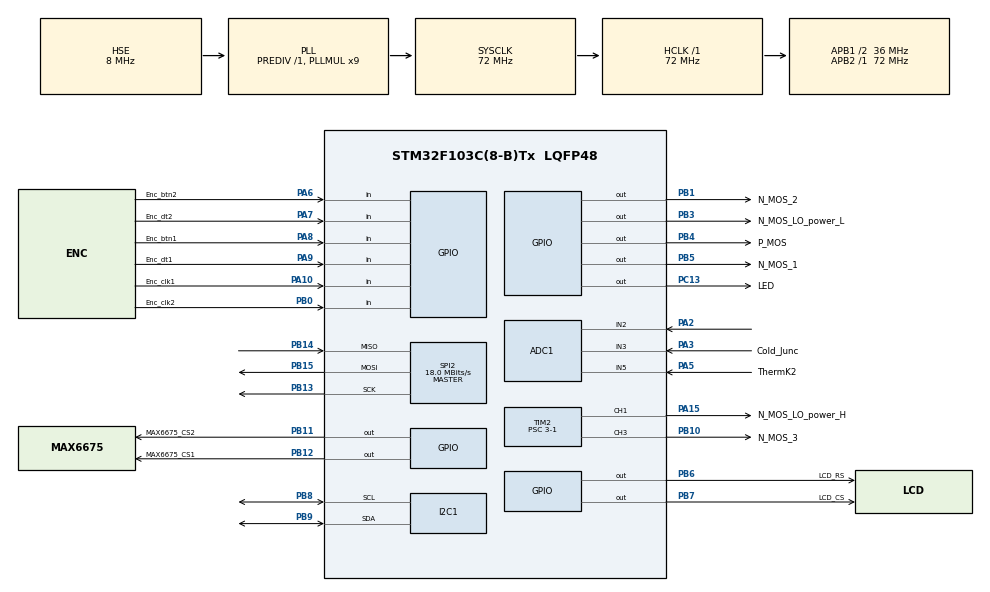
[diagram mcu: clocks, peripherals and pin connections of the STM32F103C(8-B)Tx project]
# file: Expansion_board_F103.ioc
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ADC1.Channel-0\#ChannelRegularConversion=ADC_CHANNEL_5
ADC1.NbrOfConversionFlag=1
ADC1.Rank-0\#ChannelRegularConversion=1
ADC1.SamplingTime-0\#ChannelRegularConversion=ADC_SAMPLETIME_1CYCLE_5
ADC1.master=1
Mcu.Family=STM32F1
Mcu.Name=STM32F103C(8-B)Tx
Mcu.Package=LQFP48
NVIC.PriorityGroup=NVIC_PRIORITYGROUP_4
NVIC.TIM4_IRQn=true\:1\:0\:true\:false\:true\:true\:true\:true
PA10.GPIO_Label=Enc_clk1
PA10.Signal=GPIO_Input
PA13.Mode=Serial_Wire
PA13.Signal=SYS_JTMS-SWDIO
PA14.Mode=Serial_Wire
PA14.Signal=SYS_JTCK-SWCLK
PA15.GPIO_Label=N_MOS_LO_power_H
PA15.GPIO_Speed=GPIO_SPEED_FREQ_LOW
PA15.Signal=S_TIM2_CH1_ETR
PA2.Signal=ADCx_IN2
PA3.GPIO_Label=Cold_Junc
PA3.Signal=ADCx_IN3
PA5.GPIO_Label=ThermK2
PA5.Signal=ADCx_IN5
PA6.GPIO_Label=Enc_btn2
PA6.Signal=GPIO_Input
PA7.GPIO_Label=Enc_dt2
PA7.Signal=GPIO_Input
PA8.GPIO_Label=Enc_btn1
PA8.Signal=GPIO_Input
PA9.GPIO_Label=Enc_dt1
PA9.Signal=GPIO_Input
PB0.GPIO_Label=Enc_clk2
PB0.Signal=GPIO_Input
PB1.GPIO_Label=N_MOS_2
PB1.GPIO_Speed=GPIO_SPEED_FREQ_HIGH
PB1.Signal=GPIO_Output
PB10.GPIO_Label=N_MOS_3
PB10.GPIO_Speed=GPIO_SPEED_FREQ_LOW
PB10.Signal=S_TIM2_CH3
PB11.GPIO_Label=MAX6675_CS2
PB11.GPIO_Speed=GPIO_SPEED_FREQ_HIGH
PB11.Signal=GPIO_Output
PB12.GPIO_Label=MAX6675_CS1
PB12.GPIO_Speed=GPIO_SPEED_FREQ_HIGH
PB12.Signal=GPIO_Output
PB13.Mode=Full_Duplex_Master
PB13.Signal=SPI2_SCK
PB14.Mode=Full_Duplex_Master
PB14.Signal=SPI2_MISO
PB15.Mode=Full_Duplex_Master
PB15.Signal=SPI2_MOSI
PB3.GPIO_Label=N_MOS_LO_power_L
PB3.GPIO_Speed=GPIO_SPEED_FREQ_HIGH
PB3.Signal=GPIO_Output
PB4.GPIO_Label=P_MOS
PB4.GPIO_Speed=GPIO_SPEED_FREQ_HIGH
PB4.PinState=GPIO_PIN_RESET
PB4.Signal=GPIO_Output
PB5.GPIO_Label=N_MOS_1
PB5.Signal=GPIO_Output
PB6.GPIO_Label=LCD_RS
PB6.GPIO_Speed=GPIO_SPEED_FREQ_HIGH
PB6.Signal=GPIO_Output
PB7.GPIO_Label=LCD_CS
PB7.GPIO_Speed=GPIO_SPEED_FREQ_HIGH
PB7.Signal=GPIO_Output
PB8.Mode=I2C
PB8.Signal=I2C1_SCL
PB9.Mode=I2C
PB9.Signal=I2C1_SDA
PC13-TAMPER-RTC.GPIO_Label=LED
PC13-TAMPER-RTC.Signal=GPIO_Output
PD0-OSC_IN.Mode=HSE-External-Oscillator
PD0-OSC_IN.Signal=RCC_OSC_IN
PD1-OSC_OUT.Mode=HSE-External-Oscillator
PD1-OSC_OUT.Signal=RCC_OSC_OUT
ProjectManager.HeapSize=0x200
ProjectManager.StackSize=0x400
ProjectManager.TargetToolchain=STM32CubeIDE
RCC.ADCPresc=RCC_ADCPCLK2_DIV6
RCC.AHBFreq_Value=72000000
RCC.APB1CLKDivider=RCC_HCLK_DIV2
RCC.APB1Freq_Value=36000000
RCC.APB1TimFreq_Value=72000000
RCC.APB2Freq_Value=72000000
RCC.APB2TimFreq_Value=72000000
RCC.HCLKFreq_Value=72000000
RCC.PLLMUL=RCC_PLL_MUL9
RCC.PLLSourceVirtual=RCC_PLLSOURCE_HSE
RCC.SYSCLKFreq_VALUE=72000000
RCC.SYSCLKSource=RCC_SYSCLKSOURCE_PLLCLK
RCC.USBFreq_Value=48000000
RCC.USBPrescaler=RCC_USBCLKSOURCE_PLL_DIV1_5
SH.ADCx_IN2.0=ADC1_IN2,IN2
SH.ADCx_IN3.0=ADC1_IN3,IN3
SH.ADCx_IN5.0=ADC1_IN5,IN5
SH.S_TIM2_CH1_ETR.0=TIM2_CH1,PWM Generation1 CH1
SH.S_TIM2_CH3.0=TIM2_CH3,PWM Generation3 CH3
SPI2.BaudRatePrescaler=SPI_BAUDRATEPRESCALER_2
SPI2.CalculateBaudRate=18.0 MBits/s
SPI2.Direction=SPI_DIRECTION_2LINES
SPI2.Mode=SPI_MODE_MASTER
SPI2.VirtualType=VM_MASTER
TIM2.Channel-PWM\ Generation1\ CH1=TIM_CHANNEL_1
TIM2.Channel-PWM\ Generation3\ CH3=TIM_CHANNEL_3
TIM2.ClockDivision=TIM_CLOCKDIVISION_DIV1
TIM2.OC1Preload_PWM=DISABLE
TIM2.OC3Preload_PWM=DISABLE
TIM2.OCFastMode_PWM-PWM\ Generation1\ CH1=TIM_OCFAST_ENABLE
TIM2.OCFastMode_PWM-PWM\ Generation3\ CH3=TIM_OCFAST_ENABLE
TIM2.OCMode_PWM-PWM\ Generation1\ CH1=TIM_OCMODE_PWM1
TIM2.OCMode_PWM-PWM\ Generation3\ CH3=TIM_OCMODE_PWM1
TIM2.OCPolarity_1=TIM_OCPOLARITY_LOW
TIM2.OCPolarity_3=TIM_OCPOLARITY_LOW
TIM2.Period=1000-1
TIM2.Prescaler=3-1
TIM2.Pulse-PWM\ Generation1\ CH1=500-1
TIM2.Pulse-PWM\ Generation3\ CH3=500-1
TIM2.TIM_MasterSlaveMode=TIM_MASTERSLAVEMODE_DISABLE
TIM4.AutoReloadPreload=TIM_AUTORELOAD_PRELOAD_ENABLE
TIM4.ClockDivision=TIM_CLOCKDIVISION_DIV1
TIM4.CounterMode=TIM_COUNTERMODE_UP
TIM4.Period=3600-1
TIM4.Prescaler=1
VP_TIM2_VS_ClockSourceINT.Mode=Internal
VP_TIM4_VS_ClockSourceINT.Mode=Internal
board=custom

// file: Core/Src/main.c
/* USER CODE BEGIN Header */
/**
  ******************************************************************************
  * @file           : main.c
  * @brief          : Main program body
  * @author    		 : Theodotos
  * @license				 : GNU GPL v3, 29 June 2007		https://www.gnu.org/licenses/why-not-lgpl.html
  * blog						 : https://dzen.ru/theodotos
  * Youtube				 :	 https://www.youtube.com/@Theodotos_
  ******************************************************************************
  * Rus:
  * Это демонстрационная програма для платы расширения к отладочным платам
  * "Blue Pill" (STM32F103C8T6) и "Black Pill" (STM32F401CCU6).
  *
  * Схема и печатная плата здесь: https://oshwlab.com/b_bikman/project_lsxkgfyc
  *
  * Программный код распространяется по лицензии GPL v3 Licens
  *
  * Eng:
  * A program demonstrating the capabilities of a power expansion board designed
  * for Blue Pill (STM32F103C8T6) and Black Pill (STM32F401CCU6) development
  * boards.
  *
  * Schematic and PCB here: https://oshwlab.com/b_bikman/project_lsxkgfyc
  *
  * The schematic and board are distributed under the MIT license.
  *
  * This software is distributed under the GPL v3 License.
  *
  ******************************************************************************
  */
/* USER CODE END Header */
#include "main.h"

/* USER CODE BEGIN Includes */
#include "ST7735.h"				// библиотека для дисплея / display library
#include "thermocouple.h"		// библиотека для термопар /thermocouple library
#include "RotaryEncoder.h"	// библиотека для энкодера с кнопкой / Library for encoder with button
#include "w25qxx.h"				// библиотека для микросхемы flash / library for a flash chip
#include "24LC512.h"				// библиотека для микросхемы EEPROM / library for an EEPROM chip
#include "stdio.h"
#include "strings.h"
/* USER CODE END Includes */

ADC_HandleTypeDef hadc1;

I2C_HandleTypeDef hi2c1;

SPI_HandleTypeDef hspi2;

TIM_HandleTypeDef htim2;
TIM_HandleTypeDef htim4;

/* USER CODE BEGIN PV */

/* Структуры для работы с энкодерами (для каждого энкодера своя)
 * Structures for working with encoders (a separate one for each encoder)*/
DL_Encoder enc1;
DL_Encoder enc2;

/* здесь хранятся последние положения энкодеров.
 * The latest encoder positions are stored here. */
int16_t lastPosEnc1, lastPosEnc2;

/* В эти переменные записывается коэффициент заполнения ШИМ для тех транзисторов,
 * которые не удалось настроить на работу с аппаратным ШИМ. Настраивается коэффициент
 * заполнения в функциях SetHx (&mode, percent), а переключения происходят по прерыванию
 * от таймера 4
 * The PWM duty cycle for transistors that could not be configured for hardware PWM
 * is stored in these variables. The duty cycle is set via the SetHx(&mode, percent) functions,
 * while switching occurs based on Timer 4 interrupts. */
volatile uint16_t P_MOSperiod;
volatile uint16_t N_MOS_LO_power_Lperiod;
volatile uint16_t N_MOS_2period, N_MOS_1period;

/* Время последнего обновления дисплея. Частота обновления 100 кадров в секунду
 * Time of the last display update. Refresh rate: 100 frames per second. */
uint32_t DispUpdateTime;

/* массив термоэдс для термопары типа К в микровольтах (0 - 550 °C)
 * Array of thermo. EMF ​​for a Type K thermocouple in microvolts (0–550°C) */
extern const uint16_t __thermK[551];

/* массив сопротивления для NTC 10 кОм (0 - 50 °C)
 * resistance array for 10 kΩ NTC (0–50 °C) */
extern const uint16_t NTC10K[51];

/* В эту структуру после инициализации помещается вся информация о микросхеме w25qxx
 * After initialization, all information about W25Qxx is stored in this structure. */
extern w25qxx_t w25qxx;

/* Текущие координаты курсора на дисплее. Они обновляются библиотекой для ST7735, но
 * при необходимости их можно прочитать из программы
 * The current cursor coordinates on the display. They are updated by the ST7735 library,
 * but can also be read from the program if necessary. */
extern volatile unsigned int Tmp_x;
extern volatile unsigned int Tmp_y;
/* USER CODE END PV */

void SystemClock_Config(void);
static void MX_GPIO_Init(void);
static void MX_SPI2_Init(void);
static void MX_TIM2_Init(void);
static void MX_TIM4_Init(void);
static void MX_ADC1_Init(void);
static void MX_I2C1_Init(void);
/* USER CODE BEGIN PFP */
/* инициализация W25Qxx и вывод на экран информации о микросхеме
 * W25Qxx initialization and display of chip information */
uint8_t SPIflashInit(void);

void TurnOffAllPeripherals (ModeStruct *mode);	/* Выключение всех выходов | Turning off all outputs */
void ConfigOutputs (ModeStruct *mode);					/* Настройка всех выходов | Configuring all outputs */
void StartScreen (void);												/* Вывод статического текста на экран | Displaying static text on the screen */
void UpdateDisplay(DisplayInfo *info);					/* обновление информации на экране | screen information update */

/* Сохранение настроек всех выходов во Flash память W25Qxx
 * Saving settings for all outputs to W25Qxx Flash memory. */
void SaveDataToFlash(DisplayInfo *info, uint8_t *buff);

/* Настройка выходов в соответствии с сохранёнными во Flash памяти данными
 * Configuring outputs according to data stored in Flash memory */
void LoadDataFromFlash(DisplayInfo *info, uint8_t *buff);

/* Сохранение настроек всех выходов во EEPROM память 24LCxx
 * Saving settings for all outputs to 24LCxx EEPROM memory. */
void SaveDataToEEPROM(DisplayInfo *info, 	EEPROM_HandleTypeDef *h24lc512, uint8_t *buff);

/* Настройка выходов в соответствии с сохранёнными в EEPROM памяти данными
 * Configuring outputs according to data stored in EEPROM memory */
void LoadDataFromEEPROM(DisplayInfo *info, 	EEPROM_HandleTypeDef *h24lc512, uint8_t *buff);

/* Настройка каждого выхода по отдельности
 * Individual configuration of each output */
int8_t SetH6 (ModeStruct *mode, int16_t percent);
int8_t SetH10 (ModeStruct *mode, int16_t percent);
int8_t SetH11 (ModeStruct *mode, int16_t percent);
int8_t SetH12 (ModeStruct *mode, int16_t percent);
int8_t SetH13 (ModeStruct *mode, int16_t percent);
int8_t SetH14 (ModeStruct *mode, int16_t percent);
/* USER CODE END PFP */

int main(void)
{

  /* USER CODE BEGIN 1 */
	/* Структуры для работы с термопарами. Первые две для работы с микросхемами MAX6675.
	 * Вторые две для измерения температуры при помощи операционного усилителя
	 * и АЦП микроконтроллера.
	 * Structures for working with thermocouples. The first two are for use with MAX6675 chips.
	 * The second two are for temperature measurement using an operational amplifier
	 * and the microcontroller's ADC.*/
	ThermocoupleStruct MAX6675_1;
	ThermocoupleStruct MAX6675_2;
	ThermocoupleStruct ThermK2;
	ThermocoupleStruct ThermK1;

	EEPROM_HandleTypeDef _24LC512;	// Структура для работы с микросхемой 24LC512 | Structure for working with the 24LC512 chip
	uint32_t now = HAL_GetTick();		// Фиксируем текущее время | We record the current time.

	/* Текущий режим (какой именно выход сейчас настраивается энкодерами)
	 * Current mode (specifically, which output is currently being configured via the encoders)*/
	uint8_t tmpMode = 0;

	/* В этой структуре хранится информация о выбранном режиме и настройках коэффициентов заполнения
	 * ШИМ для каждого выхода
	 * This structure stores information about the selected mode and PWM duty cycle settings for each output. */
	ModeStruct mode = {};

	/* В эту структуру записываются данные, которые необходимо выводить на экран
	 * Data that needs to be displayed on the screen is written to this structure. */
	DisplayInfo info = {};
	info.mode = &mode;
	info.PrintFlag = 0;

	uint8_t sBuf[64];	// буфер для чтения/записи flash | flash read/write buffer
  /* USER CODE END 1 */

  /* MCU Configuration--------------------------------------------------------*/

  /* Reset of all peripherals, Initializes the Flash interface and the Systick. */
  HAL_Init();

  /* Configure the system clock */
  SystemClock_Config();

  /* Initialize all configured peripherals */
  MX_GPIO_Init();
  MX_SPI2_Init();
  MX_TIM2_Init();
  MX_TIM4_Init();
  MX_ADC1_Init();
  MX_I2C1_Init();
  /* USER CODE BEGIN 2 */
  /* Запуск выводов 1 и 3 таймера 2 в режиме ШИМ для управления мощностью нагрузки на разъемах H13 и H14
   * Activating channels 1 and 3 of Timer 2 in PWM mode to control load power at connectors H13 and H14. */
	HAL_TIM_PWM_Start(&htim2, TIM_CHANNEL_1);
	HAL_TIM_PWM_Start(&htim2, TIM_CHANNEL_3);
	/* Запуск таймера 4 в режиме прерываний по переполнению для реализации программного ШИМ с частотой
	 * 100 кГц на остальных разъемах, к которым подключается нагрузка
	 * Starting Timer 4 in overflow interrupt mode to implement software PWM at a frequency of 100 kHz
	 * on the remaining connectors where the load is connected. */
	HAL_TIM_Base_Start_IT(&htim4);
	/* Отключение питания на выходах всех разъёмов, к которым подключена нагрузка
	 * Cutting off power to the outputs of all connectors to which a load is connected. */
  TurnOffAllPeripherals(&mode);

  /* Настройки библиотеки thermocouple.h
   * Thermocouple.h library settings */
  /* Настройка SPI для работы с модулями MAX6675
   * Configuring SPI for Operation with MAX6675 Modules */
  SetSPI(&hspi2, SPI2);
  /* Настройка работы с модулями MAX6675 (подробное описание в файле thermocouple.h)
   * Configuring operation with MAX6675 modules (detailed description in the thermocouple.h file) */
  SetMAX6675(&MAX6675_1, MAX6675_CS1_GPIO_Port, MAX6675_CS1_Pin);
  SetMAX6675(&MAX6675_2, MAX6675_CS2_GPIO_Port, MAX6675_CS2_Pin);
  /* Настройка АЦП для измерения температуры при помощи АЦП микроконтроллера через операционные усилители
   * Configuring the ADC to measure temperature using the microcontroller's ADC via operational amplifiers. */
  SetADC(&hadc1, ADC1);
  /* Настройка внешнего источника опорного напряжения для АЦП
   * Configuring an external reference voltage source for the ADC */
  SetVRef(2.45, ADC_CHANNEL_2);
  /* Настройка измерения температуры холодного спая, а также двух каналов АЦП для двух термопар.
   * Для обоих термопар используется один и тот-же терморезистор для измерения температуры
   * холодного спая, но необходимо его инициализировать для каждой термопары отдельно.
   * Configuration of cold-junction temperature measurement and two ADC channels for two thermocouples.
   * The same thermistor is used for cold-junction temperature measurement for both thermocouples,
   * but it must be initialized separately for each thermocouple. */
  SetTermColdJunc(&ThermK1, ADC_CHANNEL_3, NTC10K, sizeof(NTC10K), 4700, NTC);
  SetTermColdJunc(&ThermK2, ADC_CHANNEL_3, NTC10K, sizeof(NTC10K), 4700, NTC);
  SetThermocouple(&ThermK1, 300, RCJ_ON, 0, ADC_CHANNEL_4, __thermK, sizeof(__thermK));
  SetThermocouple(&ThermK2, 301, RCJ_ON, 0, ADC_CHANNEL_5, __thermK, sizeof(__thermK));

  /* Настройка левого энкодера. Эта функция используется, если оба контакта энкодера и
   * контакт кнопки подключены к одному порту GPIO
   * Left encoder configuration. This function is used if both encoder contacts and
   * the button contact are connected to the same GPIO port. */
  RotaryEncoder(&enc1, Enc_dt1_GPIO_Port, Enc_clk1_Pin, Enc_dt1_Pin, Enc_btn1_Pin, FOUR0);
  /* Настройка правого энкодера. Эта функция используется, если контакты энкодера и
   * контакт кнопки подключены к разным портам GPIO
   * Right encoder configuration. This function is used if the encoder contacts and
   * the button contact are connected to different GPIO ports. */
  RotaryEncoderDiffPorts(&enc2, Enc_clk2_GPIO_Port, Enc_clk2_Pin, Enc_dt2_GPIO_Port, Enc_dt2_Pin,\
  																											Enc_btn2_GPIO_Port, Enc_btn2_Pin, FOUR0);
  /* Обнуление позиций энкодеров
   * Resetting encoder positions */
  setPosition(&enc1, 0);
	lastPosEnc1 = 0;
  setPosition(&enc2, 0);
	lastPosEnc2 = 0;

	/* Настройка дисплея, передаём функции структуру SPI_HandleTypeDef, а также порт и выводы,
	 * к отороым подключены линии CS и RS. Reset дисплея подключен к +3.3В,
	 * поэтому вместо номера его вывода передаём 0.
	 * To configure the display, we pass the SPI_HandleTypeDef structure to the function,
	 * along with the port and pins connected to the CS and RS lines.
	 * The display's reset pin is connected to +3.3V, so we pass 0 instead of a pin number. */
  LCD(&hspi2, LCD_CS_GPIO_Port, LCD_CS_Pin, LCD_RS_Pin, 0);
  /* Настраиваем смещение экрана, оно может отличаться у разных дисплеев, поэтому значения подбираем.
   * Два важных момента: 1. После изменения смещения необходимо отключать питание от дисплея,
   * или от платы полностью, иначе на экране может остаться старая заливка и изменения настроек
   * не будут  видны. 2. Настраивать смещение необходимо до инициализации и оно может быть разным
   * для разной ориентации экрана.
   * Adjust the screen offset; since this value can vary between displays, you will need to determine
   * the correct setting experimentally. Two important points: 1. After changing the offset, you must
   * disconnect power from the display or the board entirely; otherwise, the previous image content
   * may persist on the screen, making the setting changes invisible. 2. The offset must be configured
   * prior to initialization, and the value may differ depending on the screen orientation. */
  SetOffset(0, 0);
  /* Инициализация дисплея. Экраны на драйвере ST7735 бывают 128*128 и 128*160, поэтому
   * первый аргумент - соотношение сторон. Второй аргумент - тип вывода цветов: RGB или BGR.
   * Если цвета отображаются некорректно - попробуйте вместо MADCTL_RGB передать MADCTL_BGR.
   * Display initialization. ST7735-based displays come in 128x128 and 128x160 resolutions, so
   * the first argument specifies the aspect ratio. The second argument defines the color output
   * mode: RGB or BGR. If the colors appear incorrect, try passing MADCTL_BGR instead of MADCTL_RGB. */
	Init(LCD128X160, MADCTL_RGB);
	/* Настройки цвета текста, цвета фона, выбор шрифта (смотри файл "Font_8x16.h"), включение,
	 * или отключение прозрачности вывода текста
	 * Settings for text color, background color, and font selection (see the "Font_8x16.h" file),
	 * as well as enabling or disabling text output transparency. */
	SetDisplay(YELLOW, BLACK, font_8x16, TRANSPORENT_OFF);
	/* Ориентация дисплея: LANDSCAPE (альбомная), PORTRAIT (портретная) и если дисплей перевёрнут -
	 * можно выбрать LANDSCAPE_INV, или PORTRAIT_INV
	 * Display orientation: LANDSCAPE, PORTRAIT; if the display is inverted, you can select
	 *  LANDSCAPE_INV or PORTRAIT_INV. */
	SetOrientation(LANDSCAPE);

	/* Инициализация микросхемы flash памяти W25Qxx | Initialization of the W25Qxx flash memory chip*/
	if(SPIflashInit()) {		// Если всё в порядке - на экран выводится информация о микросхеме, иначе - сообщение об ошибке
		Clear();							// If order, information about the chip is displayed; otherwise, an error message appears.
		cursor(0, 32);
		SetColor(RED);
		Print("Ошибка инициализации\r\nмикросхемы flash");		// Flash chip initialization error
		HAL_Delay(5000);
	}
	W25qxx_ReadByte(sBuf, 0);		// Если во flash записаны настройки выходов - загрузить их
	if(sBuf[0] != 0xFF) {			// If output settings are stored in flash, load them
		LoadDataFromFlash(&info, sBuf);
	  setPosition(&enc1, info.Enc1);
		lastPosEnc1 = info.Enc1;
	  setPosition(&enc2, info.Enc2);
		lastPosEnc2 = info.Enc2;
	}
	if(EEPROM_Init(&_24LC512, &hi2c1)) {		// Инициализация и попытка чтения EEPROM.
		Clear();															// Если ошибка - вывести на экран сообщение EEPROM ERROR
		SetColor(RED);												// Initialization and attempt to read EEPROM.
		PrintXY("EEPROM ERROR", 20, 32);			// If an error occurs, display the message "EEPROM ERROR" on the screen.
		HAL_Delay(5000);
	} else {
		if(EEPROM_Read(&_24LC512, 0, (uint8_t*)sBuf, 18)) {	// Попытка чтения из EEPROM | Attempt to read from EEPROM
			Clear();																					// Если ошибка - вывести на экран сообщение EEPROM ERROR
			SetColor(RED);																		// If an error occurs, display the message "EEPROM ERROR" on the screen.
			PrintXY("EEPROM ERROR", 20, 32);
			HAL_Delay(5000);
		} else {																						// иначе вывести сообщение EPROM OK
			Clear();																					// otherwise, display the message "EPROM OK"
			SetColor(GREEN);
			PrintXY("EEPROM OK", 40, 32);
			HAL_Delay(500);
		}
	}
	ConfigOutputs(&mode);		// Настроить выходы. | Configure the outputs.
	StartScreen();						// Вывести на экран начальную информацию. | Display the initial information on the screen.

  /* USER CODE END 2 */

  /* Infinite loop */
  /* USER CODE BEGIN WHILE */
  while (1)
  {
  		/* Измеряем температуру каждые 500мс, но чтобы программа не зависала - HAL_Delay не используем,
  		 * вместо этого считываем счётчик тиков (1 раз/мс) и когда он станет на 500 больше, чем во время
  		 * предыдущего измерения температуры - измеряем снова.
  		 * We measure the temperature every 500 ms, but to prevent the program from freezing, we do not
  		 * use HAL_Delay; instead, we read the tick counter (which updates once per millisecond) and
  		 * perform the measurement again when the count exceeds the value from the previous measurement by 500. */
  		if((now + 500) <= HAL_GetTick()) {
  			now = HAL_GetTick();														// записываем значение счётчика тиков | we record the tick counter value
  			info.T1 = Get_temperature(&MAX6675_1, MAX6675);	// измеряем температуру на левой микросхеме MAX6675 | We measure the temperature on the left MAX6675 chip.
  			info.T2 = Get_temperature(&MAX6675_2, MAX6675);	// измеряем температуру на правой микросхеме MAX6675 | We measure the temperature on the right-hand MAX6675 chip.
  			info.ADC = GetADC(ADC_CHANNEL_5);								// Измеряем температуру на входе усилителя U5 (неинвертирующий) | We measure the temperature at the input of amplifier U5 (non-inverting).

  			/* Этот усилитель настроен на измерение температуры на жале для паяльника Т12, поэтому измерение разрешается
  			 * только когда на жало не подаётся напряжение питания для его нагрева
  			 * This amplifier is configured to measure the temperature of the T12 soldering tip; therefore, measurements
  			 * are permitted only when no heating voltage is applied to the tip. */
  			if(info.ADC < 2300) {													// Если на жало не подано питание - измеряем температуру. | If power is not supplied to the tip, measure the temperature.
  				HAL_Delay(1);																// Задержка для стабилизации напряжения | Voltage stabilization delay
  				info.T3 = Get_temperature(&ThermK2, THREM_K);
  				info.Tkj = GetTempColdJunc(&ThermK2);
  			}
			info.T4 = Get_temperature(&ThermK2, THREM_K);
  			info.PrintFlag = 1;
  		}

  		/* Опрос кнопок энкодеров, начиная с левой | Polling the encoder buttons, starting with the left one. */
  		if(ButtonCheck(&enc1) == 1) {						// короткое нажатие | short press
  			mode.mode1++;												// переключение на следующий режим | switching to the next mode
  			if(mode.mode1 == 4) {								// если режим больше третьего - возврат к нулевому | if the mode is higher than 3, return to 0
  				mode.mode1 = 0;
  			}
  			HAL_Delay(400);											// задержка, чтобы успеть убрать палец с кнопки до повторного её опросаa | delay to allow time to remove one's finger from the button before it is polled again
  		} else if(ButtonCheck(&enc1) == 2) {		// длинное нажатие | long press
  			SaveDataToFlash(&info, sBuf);
  			cursor(0, 80);
  			SetColor(WHITE);
  			Print("Сохранено во flash");				// Saved to flash memory
  			HAL_Delay(1500);
  			cursor(0, 80);
  			SetColor(GREEN);
  			Print("                  ");
  		} else if(ButtonCheck(&enc1) == 3) {		// двойной щелчок | double-click
  			SaveDataToEEPROM(&info, &_24LC512, sBuf);
  			cursor(0, 80);
  			SetColor(WHITE);
  			Print("Сохранено в EEPROM");					// Saved to EEPROM memory
  			HAL_Delay(1500);
  			cursor(0, 80);
  			SetColor(GREEN);
  			Print("                  ");
  		}
  		/* аналогично первой кнопке проходит опрос второй
  		 * The polling of the second button proceeds in the same way as that of the first. */
  		if(ButtonCheck(&enc2) == 1) {
  			if(mode.mode2) {
  				mode.mode2 = 0;
  			} else {
  				mode.mode2 = 1;
  			}
  			HAL_Delay(400);
  		} else if(ButtonCheck(&enc2) == 2) {
  			LoadDataFromFlash(&info, sBuf);
  			tmpMode = 0xFF;
  			ConfigOutputs(&mode);
  			DispUpdateTime = 0;
  			UpdateDisplay(&info);
  			cursor(0, 80);
  			SetColor(WHITE);
  			Print("Загружено из flash");			// Loaded from flash
  			HAL_Delay(1500);
  			cursor(0, 80);
  			SetColor(GREEN);
  			Print("                  ");
  		} else if(ButtonCheck(&enc2) == 3) {
  			LoadDataFromEEPROM(&info, &_24LC512, sBuf);
  			tmpMode = 0xFF;
  			ConfigOutputs(&mode);
  			DispUpdateTime = 0;
  			UpdateDisplay(&info);
  			cursor(0, 80);
  			SetColor(WHITE);
  			Print("Загружено из EEPROM");			// Loaded from EEPROM
  			HAL_Delay(1500);
  			cursor(0, 80);
  			SetColor(GREEN);
  			Print("                   ");
  		}
  		/* Чтобы настройки коэффициента заполнения ШИМ одного выхода не переносились на другой
  		 * при переключении режимов - проверяем, если режим переключен - записываем в переменную
  		 * EncX значение, которое соответствует именно этому выводу
  		 * To prevent the PWM duty cycle settings of one output from carrying over to the other when
  		 * switching modes, we check if the mode has changed; if so, we write the value corresponding
  		 * specifically to that output into the variable EncX. */
  		if(tmpMode != ((mode.mode1 << 2) | mode.mode2)) {
  			int16_t *ptr = &mode.H12enc;
  			info.Enc1 = *(ptr + mode.mode1);
  			ptr = &mode.H11enc;
  			info.Enc2 = *(ptr + mode.mode2);
  			setPosition(&enc1, info.Enc1);
  			setPosition(&enc2, info.Enc2);
  		}
  		// Записываем в переменную tmpMode текущие режимы. | We save the current modes to the tmpMode variable.
  		tmpMode = (mode.mode1 << 2) | mode.mode2;

  		/* Считываем положение энкодеров и подаём ШИМ сигнал на выходы разъёмов H6, H10, H11, H12, H13 и H14
  		 * левый энкодер управляет левыми разъёмами (H12, H6, H13, H10), а правый - правыми (H11, H14).
  		 * Разъем, на который будет подан шим сигнал, определяется выбранным при помощи кнопок режимом:
  		 * mode1 = 0 - H12
  		 * mode1 = 1 - H6
  		 * mode1 = 2 - H13
  		 * mode1 = 3 - H10
  		 * mode2 = 0 - H11
  		 * mode2 = 1 - H14
  		 * We read the encoder positions and output a PWM signal to connectors H6, H10, H11, H12, H13, and H14;
  		 * the left encoder controls the left connectors (H12, H6, H13, H10), while the right encoder controls
  		 * the right ones (H11, H14). The specific connector receiving the PWM signal is determined by the mode
  		 * selected via the buttons:
		 * mode1 = 0 - H12
		 * mode1 = 1 - H6
		 * mode1 = 2 - H13
		 * mode1 = 3 - H10
		 * mode2 = 0 - H11
		 * mode2 = 1 - H14 */
  		info.Enc1 = getPosition(&enc1);
  		switch(mode.mode1) {
  		case 0:
  			info.Enc1 = SetH12(&mode, info.Enc1);
  			break;
  		case 1:
  			info.Enc1 = SetH6(&mode, info.Enc1);
  			break;
  		case 2:
  			info.Enc1 = SetH13(&mode, info.Enc1);
  			break;
  		case 3:
  			info.Enc1 = SetH10(&mode, info.Enc1);
  			break;
  		}

  		info.Enc2 = getPosition(&enc2);
  		switch(mode.mode2) {
		case 0:
			info.Enc2 = SetH11(&mode, info.Enc2);
			break;
		case 1:
			info.Enc2 = SetH14(&mode, info.Enc2);
			break;
		}

  		UpdateDisplay(&info);
    /* USER CODE END WHILE */

  }
}

void SystemClock_Config(void)
{
  RCC_OscInitTypeDef RCC_OscInitStruct = {0};
  RCC_ClkInitTypeDef RCC_ClkInitStruct = {0};
  RCC_PeriphCLKInitTypeDef PeriphClkInit = {0};

  /** Initializes the RCC Oscillators according to the specified parameters
  * in the RCC_OscInitTypeDef structure.
  */
  RCC_OscInitStruct.OscillatorType = RCC_OSCILLATORTYPE_HSE;
  RCC_OscInitStruct.HSEState = RCC_HSE_ON;
  RCC_OscInitStruct.HSEPredivValue = RCC_HSE_PREDIV_DIV1;
  RCC_OscInitStruct.HSIState = RCC_HSI_ON;
  RCC_OscInitStruct.PLL.PLLState = RCC_PLL_ON;
  RCC_OscInitStruct.PLL.PLLSource = RCC_PLLSOURCE_HSE;
  RCC_OscInitStruct.PLL.PLLMUL = RCC_PLL_MUL9;
  if (HAL_RCC_OscConfig(&RCC_OscInitStruct) != HAL_OK)
  {
    Error_Handler();
  }

  /** Initializes the CPU, AHB and APB buses clocks
  */
  RCC_ClkInitStruct.ClockType = RCC_CLOCKTYPE_HCLK|RCC_CLOCKTYPE_SYSCLK
                              |RCC_CLOCKTYPE_PCLK1|RCC_CLOCKTYPE_PCLK2;
  RCC_ClkInitStruct.SYSCLKSource = RCC_SYSCLKSOURCE_PLLCLK;
  RCC_ClkInitStruct.AHBCLKDivider = RCC_SYSCLK_DIV1;
  RCC_ClkInitStruct.APB1CLKDivider = RCC_HCLK_DIV2;
  RCC_ClkInitStruct.APB2CLKDivider = RCC_HCLK_DIV1;

  if (HAL_RCC_ClockConfig(&RCC_ClkInitStruct, FLASH_LATENCY_2) != HAL_OK)
  {
    Error_Handler();
  }
  PeriphClkInit.PeriphClockSelection = RCC_PERIPHCLK_ADC;
  PeriphClkInit.AdcClockSelection = RCC_ADCPCLK2_DIV6;
  if (HAL_RCCEx_PeriphCLKConfig(&PeriphClkInit) != HAL_OK)
  {
    Error_Handler();
  }
}

static void MX_ADC1_Init(void)
{

  ADC_ChannelConfTypeDef sConfig = {0};

  /** Common config
  */
  hadc1.Instance = ADC1;
  hadc1.Init.ScanConvMode = ADC_SCAN_DISABLE;
  hadc1.Init.ContinuousConvMode = DISABLE;
  hadc1.Init.DiscontinuousConvMode = DISABLE;
  hadc1.Init.ExternalTrigConv = ADC_SOFTWARE_START;
  hadc1.Init.DataAlign = ADC_DATAALIGN_RIGHT;
  hadc1.Init.NbrOfConversion = 1;
  if (HAL_ADC_Init(&hadc1) != HAL_OK)
  {
    Error_Handler();
  }

  /** Configure Regular Channel
  */
  sConfig.Channel = ADC_CHANNEL_5;
  sConfig.Rank = ADC_REGULAR_RANK_1;
  sConfig.SamplingTime = ADC_SAMPLETIME_1CYCLE_5;
  if (HAL_ADC_ConfigChannel(&hadc1, &sConfig) != HAL_OK)
  {
    Error_Handler();
  }

}

static void MX_I2C1_Init(void)
{

  hi2c1.Instance = I2C1;
  hi2c1.Init.ClockSpeed = 100000;
  hi2c1.Init.DutyCycle = I2C_DUTYCYCLE_2;
  hi2c1.Init.OwnAddress1 = 0;
  hi2c1.Init.AddressingMode = I2C_ADDRESSINGMODE_7BIT;
  hi2c1.Init.DualAddressMode = I2C_DUALADDRESS_DISABLE;
  hi2c1.Init.OwnAddress2 = 0;
  hi2c1.Init.GeneralCallMode = I2C_GENERALCALL_DISABLE;
  hi2c1.Init.NoStretchMode = I2C_NOSTRETCH_DISABLE;
  if (HAL_I2C_Init(&hi2c1) != HAL_OK)
  {
    Error_Handler();
  }

}

static void MX_SPI2_Init(void)
{

  /* SPI2 parameter configuration*/
  hspi2.Instance = SPI2;
  hspi2.Init.Mode = SPI_MODE_MASTER;
  hspi2.Init.Direction = SPI_DIRECTION_2LINES;
  hspi2.Init.DataSize = SPI_DATASIZE_8BIT;
  hspi2.Init.CLKPolarity = SPI_POLARITY_LOW;
  hspi2.Init.CLKPhase = SPI_PHASE_1EDGE;
  hspi2.Init.NSS = SPI_NSS_SOFT;
  hspi2.Init.BaudRatePrescaler = SPI_BAUDRATEPRESCALER_2;
  hspi2.Init.FirstBit = SPI_FIRSTBIT_MSB;
  hspi2.Init.TIMode = SPI_TIMODE_DISABLE;
  hspi2.Init.CRCCalculation = SPI_CRCCALCULATION_DISABLE;
  hspi2.Init.CRCPolynomial = 10;
  if (HAL_SPI_Init(&hspi2) != HAL_OK)
  {
    Error_Handler();
  }

}

static void MX_TIM2_Init(void)
{

  TIM_ClockConfigTypeDef sClockSourceConfig = {0};
  TIM_MasterConfigTypeDef sMasterConfig = {0};
  TIM_OC_InitTypeDef sConfigOC = {0};

  htim2.Instance = TIM2;
  htim2.Init.Prescaler = 3-1;
  htim2.Init.CounterMode = TIM_COUNTERMODE_UP;
  htim2.Init.Period = 1000-1;
  htim2.Init.ClockDivision = TIM_CLOCKDIVISION_DIV1;
  htim2.Init.AutoReloadPreload = TIM_AUTORELOAD_PRELOAD_DISABLE;
  if (HAL_TIM_Base_Init(&htim2) != HAL_OK)
  {
    Error_Handler();
  }
  sClockSourceConfig.ClockSource = TIM_CLOCKSOURCE_INTERNAL;
  if (HAL_TIM_ConfigClockSource(&htim2, &sClockSourceConfig) != HAL_OK)
  {
    Error_Handler();
  }
  if (HAL_TIM_PWM_Init(&htim2) != HAL_OK)
  {
    Error_Handler();
  }
  sMasterConfig.MasterOutputTrigger = TIM_TRGO_RESET;
  sMasterConfig.MasterSlaveMode = TIM_MASTERSLAVEMODE_DISABLE;
  if (HAL_TIMEx_MasterConfigSynchronization(&htim2, &sMasterConfig) != HAL_OK)
  {
    Error_Handler();
  }
  sConfigOC.OCMode = TIM_OCMODE_PWM1;
  sConfigOC.Pulse = 500-1;
  sConfigOC.OCPolarity = TIM_OCPOLARITY_LOW;
  sConfigOC.OCFastMode = TIM_OCFAST_ENABLE;
  if (HAL_TIM_PWM_ConfigChannel(&htim2, &sConfigOC, TIM_CHANNEL_1) != HAL_OK)
  {
    Error_Handler();
  }
  __HAL_TIM_DISABLE_OCxPRELOAD(&htim2, TIM_CHANNEL_1);
  if (HAL_TIM_PWM_ConfigChannel(&htim2, &sConfigOC, TIM_CHANNEL_3) != HAL_OK)
  {
    Error_Handler();
  }
  __HAL_TIM_DISABLE_OCxPRELOAD(&htim2, TIM_CHANNEL_3);
  HAL_TIM_MspPostInit(&htim2);

}

static void MX_TIM4_Init(void)
{

  TIM_ClockConfigTypeDef sClockSourceConfig = {0};
  TIM_MasterConfigTypeDef sMasterConfig = {0};

  htim4.Instance = TIM4;
  htim4.Init.Prescaler = 1;
  htim4.Init.CounterMode = TIM_COUNTERMODE_UP;
  htim4.Init.Period = 3600-1;
  htim4.Init.ClockDivision = TIM_CLOCKDIVISION_DIV1;
  htim4.Init.AutoReloadPreload = TIM_AUTORELOAD_PRELOAD_ENABLE;
  if (HAL_TIM_Base_Init(&htim4) != HAL_OK)
  {
    Error_Handler();
  }
  sClockSourceConfig.ClockSource = TIM_CLOCKSOURCE_INTERNAL;
  if (HAL_TIM_ConfigClockSource(&htim4, &sClockSourceConfig) != HAL_OK)
  {
    Error_Handler();
  }
  sMasterConfig.MasterOutputTrigger = TIM_TRGO_RESET;
  sMasterConfig.MasterSlaveMode = TIM_MASTERSLAVEMODE_DISABLE;
  if (HAL_TIMEx_MasterConfigSynchronization(&htim4, &sMasterConfig) != HAL_OK)
  {
    Error_Handler();
  }

}

static void MX_GPIO_Init(void)
{
  GPIO_InitTypeDef GPIO_InitStruct = {0};

  /* GPIO Ports Clock Enable */
  __HAL_RCC_GPIOC_CLK_ENABLE();
  __HAL_RCC_GPIOD_CLK_ENABLE();
  __HAL_RCC_GPIOA_CLK_ENABLE();
  __HAL_RCC_GPIOB_CLK_ENABLE();

  /*Configure GPIO pin Output Level */
  HAL_GPIO_WritePin(LED_GPIO_Port, LED_Pin, GPIO_PIN_RESET);

  /*Configure GPIO pin Output Level */
  HAL_GPIO_WritePin(GPIOB, N_MOS_2_Pin|MAX6675_CS2_Pin|MAX6675_CS1_Pin|N_MOS_LO_power_L_Pin
                          |P_MOS_Pin|N_MOS_1_Pin|LCD_RS_Pin|LCD_CS_Pin, GPIO_PIN_RESET);

  /*Configure GPIO pin : LED_Pin */
  GPIO_InitStruct.Pin = LED_Pin;
  GPIO_InitStruct.Mode = GPIO_MODE_OUTPUT_PP;
  GPIO_InitStruct.Pull = GPIO_NOPULL;
  GPIO_InitStruct.Speed = GPIO_SPEED_FREQ_LOW;
  HAL_GPIO_Init(LED_GPIO_Port, &GPIO_InitStruct);

  /*Configure GPIO pins : Enc_btn2_Pin Enc_dt2_Pin Enc_btn1_Pin Enc_dt1_Pin
                           Enc_clk1_Pin */
  GPIO_InitStruct.Pin = Enc_btn2_Pin|Enc_dt2_Pin|Enc_btn1_Pin|Enc_dt1_Pin
                          |Enc_clk1_Pin;
  GPIO_InitStruct.Mode = GPIO_MODE_INPUT;
  GPIO_InitStruct.Pull = GPIO_NOPULL;
  HAL_GPIO_Init(GPIOA, &GPIO_InitStruct);

  /*Configure GPIO pin : Enc_clk2_Pin */
  GPIO_InitStruct.Pin = Enc_clk2_Pin;
  GPIO_InitStruct.Mode = GPIO_MODE_INPUT;
  GPIO_InitStruct.Pull = GPIO_NOPULL;
  HAL_GPIO_Init(Enc_clk2_GPIO_Port, &GPIO_InitStruct);

  /*Configure GPIO pins : N_MOS_2_Pin MAX6675_CS2_Pin MAX6675_CS1_Pin N_MOS_LO_power_L_Pin
                           P_MOS_Pin LCD_RS_Pin LCD_CS_Pin */
  GPIO_InitStruct.Pin = N_MOS_2_Pin|MAX6675_CS2_Pin|MAX6675_CS1_Pin|N_MOS_LO_power_L_Pin
                          |P_MOS_Pin|LCD_RS_Pin|LCD_CS_Pin;
  GPIO_InitStruct.Mode = GPIO_MODE_OUTPUT_PP;
  GPIO_InitStruct.Pull = GPIO_NOPULL;
  GPIO_InitStruct.Speed = GPIO_SPEED_FREQ_HIGH;
  HAL_GPIO_Init(GPIOB, &GPIO_InitStruct);

  /*Configure GPIO pin : N_MOS_1_Pin */
  GPIO_InitStruct.Pin = N_MOS_1_Pin;
  GPIO_InitStruct.Mode = GPIO_MODE_OUTPUT_PP;
  GPIO_InitStruct.Pull = GPIO_NOPULL;
  GPIO_InitStruct.Speed = GPIO_SPEED_FREQ_LOW;
  HAL_GPIO_Init(N_MOS_1_GPIO_Port, &GPIO_InitStruct);

}

/* USER CODE BEGIN 4 */
int8_t SetH6 (ModeStruct *mode, int16_t percent)
{
	if(percent != lastPosEnc1) {
		if(percent > 100) {
			percent = 100;
		} else if (percent < 10) {
			if(lastPosEnc1 > percent) {
				percent = 0;
			} else {
				percent = 10;
			}
		}
		setPosition(&enc1, percent);
		mode->H6enc = percent;
		lastPosEnc1 = percent;
		percent > 0? (N_MOS_1period = (100 - percent)): (N_MOS_1period = 101);
	}
	return percent;
}

int8_t SetH10 (ModeStruct *mode, int16_t percent)
{
	if(percent != lastPosEnc1) {
		if(percent > 100) {
			percent = 100;
		} else if (percent < 10) {
			if(lastPosEnc1 > percent) {
				percent = 0;
			} else {
				percent = 10;
			}
		}
		setPosition(&enc1, percent);
		mode->H10enc = percent;
		lastPosEnc1 = percent;
		percent > 0? (N_MOS_LO_power_Lperiod = (100 - percent)): (N_MOS_LO_power_Lperiod = 101);
	}
	return percent;
}

int8_t SetH11 (ModeStruct *mode, int16_t percent)
{
	if(percent != lastPosEnc2) {
		if(percent > 100) {
			percent = 100;
		} else if (percent < 10) {
			if(lastPosEnc2 > percent) {
				percent = 0;
			} else {
				percent = 10;
			}
		}
		setPosition(&enc2, percent);
		mode->H11enc = percent;
		lastPosEnc2 = percent;
		percent > 0? (N_MOS_2period = (100 - percent)): (N_MOS_2period = 101);
	}
	return percent;
}

int8_t SetH12 (ModeStruct *mode, int16_t percent)
{
	if(percent != lastPosEnc1) {
		if(percent > 100) {
			percent = 100;
		} else if (percent < 10) {
			if(lastPosEnc1 > percent) {
				percent = 0;
			} else {
				percent = 10;
			}
		}
		setPosition(&enc1, percent);
		mode->H12enc = percent;
		lastPosEnc1 = percent;
		percent > 0? (P_MOSperiod = (100 - percent)): (P_MOSperiod = 101);
	}
	return percent;
}

int8_t SetH13 (ModeStruct *mode, int16_t percent)
{
	if(percent != lastPosEnc1) {
		if(percent > 100) {
			percent = 100;
		} else if (percent < 10) {
			if(lastPosEnc1 > percent) {
				percent = 0;
			} else {
				percent = 10;
			}
		}
		setPosition(&enc1, percent);
		mode->H13enc = percent;
		lastPosEnc1 = percent;
		percent > 0? (TIM2->CCR1 = percent * 10): (TIM2->CCR1 = 0);
	}
	return percent;
}

int8_t SetH14 (ModeStruct *mode, int16_t percent)
{
	if(percent != lastPosEnc2) {
		if(percent > 100) {
			percent = 100;
		} else if (percent < 10) {
			if(lastPosEnc2 > percent) {
				percent = 0;
			} else {
				percent = 10;
			}
		}
		setPosition(&enc2, percent);
		mode->H14enc = percent;
		lastPosEnc2 = percent;
		percent > 0? (TIM2->CCR3 = percent * 10 - 1): (TIM2->CCR3 = 0);
	}
	return percent;
}

void StartScreen (void)
{
	SetColor(YELLOW);
	Clear();
	PrintXY("Привет!\r\nMAX6675_1 =\r\nMAX6675_2 =\r\n", 32, 0);
	Print("T12=      TCJ=     \r\nThermK=");
	PrintXY("Duty=    Duty=    \r\nOutL=    OutR=", 0, 94);
	SetColor(GREEN);
}

void UpdateDisplay(DisplayInfo *info)
{
	if(info->PrintFlag == 1) {
		PrintIntXY(info->T1, 96, 16);								// выводим значение температуры левой микросхемы
		Print("°C");															 	// знак градусов Цельсия
		while(Tmp_x < 152) Print(" ");							// заполняем оставшуюся часть строки пробелами для стирания предыдущего значения
		PrintIntXY(info->T2, 96, 32);								//выводим значение температуры правой микросхемы
		Print("°C");																// знак градусов Цельсия
		while(Tmp_x < 152) Print(" ");							// заполняем оставшуюся часть строки пробелами для стирания предыдущего значения
		Print("\r\n");															// переставляем курсор в начало следующей строки

		PrintIntXY(info->T3, 32,48);								// Вывод на дисплей температуры
		Print("°C");															 	// знак градусов Цельсия
		while(Tmp_x < 56)Print(" ");								// Заполнение пробелами части строки до следующего значения
		PrintIntXY(info->Tkj, 112,48);							// Вывод температуры холодного спая
		Print("°C");															 	// знак градусов Цельсия
		while(Tmp_x < 104)Print(" ");								// Заполнение пробелами части строки до следующего значения
		PrintIntXY(info->T4, 56, 64);								// Выводим температуру с термопары типа К
		Print("°C");															 	// знак градусов Цельсия
		while(Tmp_x < 152) Print(" ");							// Заполнение пробелами части строки до следующего значения
//		PrintIntXY(info->ADC, 120, 48);							// Вывод значения АЦП
//		while(Tmp_x < 152) Print(" ");							// Заполнение пробелами оставшейся части строки
		info->PrintFlag = 0;
	}
	/* Обновляем экран с частотой 100 кадров в секунду. Чаще не вижу смысла */
	if((DispUpdateTime + 10) < HAL_GetTick()) {
		/* Выводим на экран положение энкодеров и выбранные при помощи кнопок режимы */
		PrintIntXY(info->Enc1, 40, 94);
		while(Tmp_x < 72) Print(" ");
		PrintIntXY(info->Enc2, 112, 94);
		while(Tmp_x < 152) Print(" ");

		switch(info->mode->mode1) {
		case 0:
			PrintXY("H12", 40, 110);
			break;
		case 1:
			PrintXY("H6 ", 40, 110);
			break;
		case 2:
			PrintXY("H13", 40, 110);
			break;
		case 3:
			PrintXY("H10", 40, 110);
			break;
		}
		switch(info->mode->mode2) {
		case 0:
			PrintXY("H11", 112, 110);
			break;
		case 1:
			PrintXY("H14 ", 112, 110);
			break;
		}
		DispUpdateTime = HAL_GetTick();
	}
}

uint8_t SPIflashInit(void)
{
	int16_t pos1 = getPosition(&enc1);
	int16_t pos2 = getPosition(&enc2);

	Clear();
	W25qxx_Init();
	if(w25qxx.ID == 0) {
		return 1;
	}
	cursor(0, 0);
	SetColor(GREEN);
	switch(w25qxx.ID) {
	case W25Q10:
		Print("   W25Q10 \r\nID:");
		break;
	case W25Q20:
		Print("   W25Q20 \r\nID:");
		break;
	case W25Q40:
		Print("   W25Q40 \r\nID:");
		break;
	case W25Q80:
		Print("   W25Q80 \r\nID:");
		break;
	case W25Q16:
		Print("   W25Q16 \r\nID:");
		break;
	case W25Q32:
		Print("   W25Q32 \r\nID:");
		break;
	case W25Q64:
		Print("   W25Q64 \r\nID:");
		break;
	case W25Q128:
		Print("   W25Q128 \r\nID:");
		break;
	case W25Q256:
		Print("   W25Q256 \r\nID:");
		break;
	case W25Q512:
		Print("   W25Q512 \r\nID:");
		break;
	}
	char str[127];
	sprintf(str, "%.2X%.2X%.2X%.2X%.2X%.2X%.2X%.2X\r\n", w25qxx.UniqID[0],\
																											w25qxx.UniqID[1],\
																											w25qxx.UniqID[2],\
																											w25qxx.UniqID[3],\
																											w25qxx.UniqID[4],\
																											w25qxx.UniqID[5],\
																											w25qxx.UniqID[6],\
																											w25qxx.UniqID[7]);
	SetColor(WHITE);
	Print(str);
	SetColor(YELLOW);
	Print("Memorie:     ");
	SetColor(WHITE);
	PrintInt(w25qxx.CapacityInKiloByte);
	SetColor(YELLOW);
	Print("kB\r\nPageSize:    ");
	SetColor(WHITE);
  	PrintInt(w25qxx.PageSize);
  	SetColor(YELLOW);
  	Print("\r\nPageCount:   ");
  	SetColor(WHITE);
	PrintInt(w25qxx.PageCount);
	SetColor(YELLOW);
	Print("\r\nSectorSize:  ");
	SetColor(WHITE);
	PrintInt(w25qxx.SectorSize);
	SetColor(YELLOW);
	Print("\r\nSectorCount: ");
	SetColor(WHITE);
	PrintInt(w25qxx.SectorCount);
	while(1) {
		if(ButtonCheck(&enc1)) break;
		if(ButtonCheck(&enc2)) break;
		if(getPosition(&enc1) != pos1) break;
		if(getPosition(&enc2) != pos2) break;
	}
	if(ButtonCheck(&enc1)) {
		while(ButtonCheck(&enc1));
	}
	if(ButtonCheck(&enc2)) {
		while(ButtonCheck(&enc2));
	}
	pos1 = getPosition(&enc1);
	pos2 = getPosition(&enc2);
	fill_color_area(0, 159, 32, 127, BLACK);
	cursor(0, 32);
	SetColor(YELLOW);
	Print("BlockSize:  ");
	SetColor(WHITE);
	PrintInt(w25qxx.BlockSize);
	SetColor(YELLOW);
	Print("\r\nBlockCount: ");
	SetColor(WHITE);
	PrintInt(w25qxx.BlockCount);
	while(1) {
		if(ButtonCheck(&enc1))break;
		if(ButtonCheck(&enc2))break;
		if(getPosition(&enc1) != pos1)break;
		if(pos2 != getPosition(&enc2))break;
	}
	setPosition(&enc1, 0);
	setPosition(&enc2, 0);
	return 0;
}

void SaveDataToFlash(DisplayInfo *info, uint8_t *buff)
{
	W25qxx_EraseSector(0);
	HAL_Delay(15);
	buff[0] = info->Enc1 >> 8;
	buff[1] = info->Enc1 & 0xFF;
	buff[2] = info->Enc2 >> 8;
	buff[3] = info->Enc2 & 0xFF;
	buff[4] = info->mode->H12enc >> 8;
	buff[5] = info->mode->H12enc & 0xFF;
	buff[6] = info->mode->H6enc >> 8;
	buff[7] = info->mode->H6enc & 0xFF;
	buff[8] = info->mode->H13enc >> 8;
	buff[9] = info->mode->H13enc & 0xFF;
	buff[10] = info->mode->H10enc >> 8;
	buff[11] = info->mode->H10enc & 0xFF;
	buff[12] = info->mode->H11enc >> 8;
	buff[13] = info->mode->H11enc & 0xFF;
	buff[14] = info->mode->H14enc >> 8;
	buff[15] = info->mode->H14enc & 0xFF;
	buff[16] = info->mode->mode1;
	buff[17] = info->mode->mode2;
	W25qxx_WriteSector(buff, 0, 0, 18);
}

void LoadDataFromFlash(DisplayInfo *info, uint8_t *buff)
{
	W25qxx_ReadPage(buff, 0, 0, 18);
	info->Enc1 = (int16_t)(buff[0] << 8) | buff[1];
	info->Enc2 = (int16_t)(buff[2] << 8) | buff[3];
	info->mode->H12enc = (int16_t)(buff[4] << 8) | buff[5];
	info->mode->H6enc = (int16_t)(buff[6] << 8) | buff[7];
	info->mode->H13enc = (int16_t)(buff[8] << 8) | buff[9];
	info->mode->H10enc = (int16_t)(buff[10] << 8) | buff[11];
	info->mode->H11enc = (int16_t)(buff[12] << 8) | buff[13];
	info->mode->H14enc = (int16_t)(buff[14] << 8) | buff[15];
	info->mode->mode1 = buff[16];
	info->mode->mode2 = buff[17];
}

void SaveDataToEEPROM(DisplayInfo *info, 	EEPROM_HandleTypeDef *h24lc512, uint8_t *buff)
{
	EEPROM_Erase(h24lc512, 0, 18, 0xFF);
	HAL_Delay(15);
	buff[0] = info->Enc1 >> 8;
	buff[1] = info->Enc1 & 0xFF;
	buff[2] = info->Enc2 >> 8;
	buff[3] = info->Enc2 & 0xFF;
	buff[4] = info->mode->H12enc >> 8;
	buff[5] = info->mode->H12enc & 0xFF;
	buff[6] = info->mode->H6enc >> 8;
	buff[7] = info->mode->H6enc & 0xFF;
	buff[8] = info->mode->H13enc >> 8;
	buff[9] = info->mode->H13enc & 0xFF;
	buff[10] = info->mode->H10enc >> 8;
	buff[11] = info->mode->H10enc & 0xFF;
	buff[12] = info->mode->H11enc >> 8;
	buff[13] = info->mode->H11enc & 0xFF;
	buff[14] = info->mode->H14enc >> 8;
	buff[15] = info->mode->H14enc & 0xFF;
	buff[16] = info->mode->mode1;
	buff[17] = info->mode->mode2;
	EEPROM_Write(h24lc512, 0, buff, 18);
}

void LoadDataFromEEPROM(DisplayInfo *info, 	EEPROM_HandleTypeDef *h24lc512, uint8_t *buff)
{
	EEPROM_Read(h24lc512, 0, buff, 18);
	info->Enc1 = (int16_t)(buff[0] << 8) | buff[1];
	info->Enc2 = (int16_t)(buff[2] << 8) | buff[3];
	info->mode->H12enc = (int16_t)(buff[4] << 8) | buff[5];
	info->mode->H6enc = (int16_t)(buff[6] << 8) | buff[7];
	info->mode->H13enc = (int16_t)(buff[8] << 8) | buff[9];
	info->mode->H10enc = (int16_t)(buff[10] << 8) | buff[11];
	info->mode->H11enc = (int16_t)(buff[12] << 8) | buff[13];
	info->mode->H14enc = (int16_t)(buff[14] << 8) | buff[15];
	info->mode->mode1 = buff[16];
	info->mode->mode2 = buff[17];
}

void TurnOffAllPeripherals (ModeStruct *mode)
{
	lastPosEnc1 = 10;
	SetH6(mode, 0);
	lastPosEnc1 = 10;
	SetH10(mode, 0);
	lastPosEnc2 = 10;
	SetH11(mode, 0);
	lastPosEnc1 = 10;
	SetH12(mode, 0);
	lastPosEnc1 = 10;
	SetH13(mode, 0);
	lastPosEnc2 = 10;
	SetH14(mode, 0);
	HAL_GPIO_WritePin(LED_GPIO_Port, LED_Pin, GPIO_PIN_SET);
	HAL_GPIO_WritePin(MAX6675_CS1_GPIO_Port, MAX6675_CS1_Pin, GPIO_PIN_SET);
	HAL_GPIO_WritePin(MAX6675_CS2_GPIO_Port, MAX6675_CS2_Pin, GPIO_PIN_SET);
	HAL_GPIO_WritePin(LCD_CS_GPIO_Port, LCD_CS_Pin, GPIO_PIN_SET);
}

void ConfigOutputs (ModeStruct *mode)
{
	lastPosEnc1 = 110;
	SetH6(mode, mode->H6enc);
	lastPosEnc1 = 110;
	SetH10(mode, mode->H10enc);
	lastPosEnc2 = 110;
	SetH11(mode, mode->H11enc);
	lastPosEnc1 = 110;
	SetH12(mode, mode->H12enc);
	lastPosEnc1 = 110;
	SetH13(mode, mode->H13enc);
	lastPosEnc2 = 110;
	SetH14(mode, mode->H14enc);

	switch(mode->mode1) {
	case 0:
		setPosition(&enc1, mode->H12enc);
		break;
	case 1:
		setPosition(&enc1, mode->H6enc);
		break;
	case 2:
		setPosition(&enc1, mode->H13enc);
		break;
	case 3:
		setPosition(&enc1, mode->H10enc);
		break;
	}
	switch(mode->mode2) {
	case 0:
		setPosition(&enc2, mode->H11enc);
		break;
	case 1:
		setPosition(&enc2, mode->H14enc);
		break;
	}
}

/* USER CODE END 4 */

void Error_Handler(void)
{
  __disable_irq();
  while (1)
  {
  }
}
